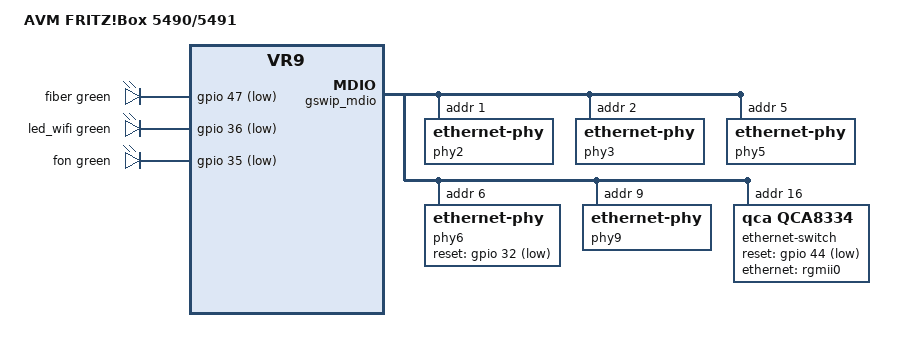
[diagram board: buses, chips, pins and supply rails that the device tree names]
// SPDX-License-Identifier: GPL-2.0-or-later OR MIT

#include <dt-bindings/leds/common.h>

#include "vr9_avm_fritzxx90.dtsi"

/ {
	compatible = "avm,fritz5490", "lantiq,xway", "lantiq,vr9";
	model = "AVM FRITZ!Box 5490/5491";
};

&aliases {
	led-wifi = &led_wifi;
};

&leds {
	fiber {
		function = "fiber";
		color = <LED_COLOR_ID_GREEN>;
		gpios = <&gpio 47 GPIO_ACTIVE_LOW>;
	};

	led_wifi: wifi {
		function = LED_FUNCTION_WLAN;
		color = <LED_COLOR_ID_GREEN>;
		gpios = <&gpio 36 GPIO_ACTIVE_LOW>;
	};

	fon {
		function = "fon";
		color = <LED_COLOR_ID_GREEN>;
		gpios = <&gpio 35 GPIO_ACTIVE_LOW>;
	};
};

&gswip_mdio {
	phy2: ethernet-phy@1 {
		reg = <0x01>;
	};

	phy3: ethernet-phy@2 {
		reg = <0x02>;
	};

	phy5: ethernet-phy@5 {
		reg = <0x05>;
	};

	phy6: ethernet-phy@6 {
		reg = <0x06>;
		reset-gpios = <&gpio 32 GPIO_ACTIVE_LOW>;
	};

	phy9: ethernet-phy@9 {
		reg = <0x09>;
	};

	ethernet-switch@10 {
		compatible = "qca,qca8334";
		reg = <0x10>;
		reset-gpios = <&gpio 44 GPIO_ACTIVE_LOW>;

		dsa,member = <1 0>;

		ethernet-ports {
			#address-cells = <1>;
			#size-cells = <0>;

			ethernet-port@0 {
				reg = <0>;
				ethernet = <&rgmii0>;
				phy-mode = "rgmii-txid";
				tx-internal-delay-ps = <3000>;

				fixed-link {
					speed = <1000>;
					full-duplex;
				};
			};

			ethernet-port@2 {
				reg = <2>;
				label = "lan3";
				phy-handle = <&phy2>;
			};

			ethernet-port@3 {
				reg = <3>;
				label = "lan4";
				phy-handle = <&phy3>;
			};
		};
	};
};

&gswip_ports {
	port@0 {
		reg = <0>;
		label = "wan";
		phy-mode = "rgmii-rxid";
		phy-handle = <&phy6>;
	};

	rgmii0: port@1 {
		reg = <1>;
		label = "sw0";
		phy-mode = "rgmii";

		fixed-link {
			speed = <1000>;
			full-duplex;
		};
	};

	port@2 {
		reg = <2>;
		label = "lan2";
		phy-mode = "internal";
		phy-handle = <&phy5>;
	};

	port@4 {
		reg = <4>;
		label = "lan1";
		phy-mode = "internal";
		phy-handle = <&phy9>;
	};
};
